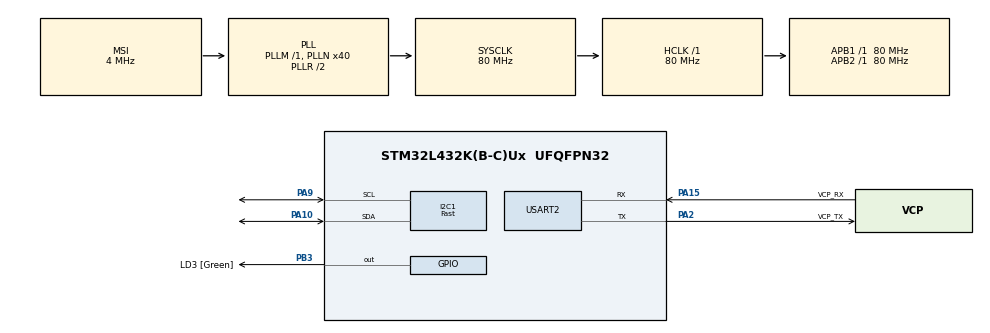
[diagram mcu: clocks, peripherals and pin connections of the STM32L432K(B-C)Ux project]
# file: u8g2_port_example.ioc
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I2C1.I2C_Speed_Mode=I2C_Fast
I2C1.Timing=0x00702991
Mcu.Family=STM32L4
Mcu.Name=STM32L432K(B-C)Ux
Mcu.Package=UFQFPN32
NVIC.PriorityGroup=NVIC_PRIORITYGROUP_4
PA0.GPIO_Label=MCO [High speed clock in]
PA0.Mode=HSE-External-Clock-Source-for-LittleOrca
PA0.Signal=RCC_CK_IN
PA10.Mode=I2C
PA10.Signal=I2C1_SDA
PA13\ (JTMS-SWDIO).GPIO_Label=SWDIO
PA13\ (JTMS-SWDIO).Mode=Serial_Wire
PA13\ (JTMS-SWDIO).Signal=SYS_JTMS-SWDIO
PA14\ (JTCK-SWCLK).GPIO_Label=SWCLK
PA14\ (JTCK-SWCLK).Mode=Serial_Wire
PA14\ (JTCK-SWCLK).Signal=SYS_JTCK-SWCLK
PA15\ (JTDI).GPIO_Label=VCP_RX
PA15\ (JTDI).Mode=Asynchronous
PA15\ (JTDI).Signal=USART2_RX
PA2.GPIO_Label=VCP_TX
PA2.Mode=Asynchronous
PA2.Signal=USART2_TX
PA9.Mode=I2C
PA9.Signal=I2C1_SCL
PB3\ (JTDO-TRACESWO).GPIO_Label=LD3 [Green]
PB3\ (JTDO-TRACESWO).Signal=GPIO_Output
PC14-OSC32_IN\ (PC14).Mode=LSE-External-Oscillator
PC14-OSC32_IN\ (PC14).Signal=RCC_OSC32_IN
PC15-OSC32_OUT\ (PC15).Mode=LSE-External-Oscillator
PC15-OSC32_OUT\ (PC15).Signal=RCC_OSC32_OUT
ProjectManager.HeapSize=0x200
ProjectManager.StackSize=0x400
ProjectManager.TargetToolchain=Makefile
RCC.AHBFreq_Value=80000000
RCC.APB1Freq_Value=80000000
RCC.APB1TimFreq_Value=80000000
RCC.APB2Freq_Value=80000000
RCC.APB2TimFreq_Value=80000000
RCC.CortexFreq_Value=80000000
RCC.HCLKFreq_Value=80000000
RCC.HSE_VALUE=8000000
RCC.HSI16_VALUE=16000000
RCC.HSI48_VALUE=48000000
RCC.HSI_VALUE=16000000
RCC.MSI_VALUE=4000000
RCC.PLLMUL=RCC_PLLMUL_4
RCC.PLLN=40
RCC.SYSCLKFreq_VALUE=80000000
RCC.SYSCLKSource=RCC_SYSCLKSOURCE_PLLCLK
RCC.VCOOutputFreq_Value=160000000
USART2.VirtualMode-Asynchronous=VM_ASYNC
board=NUCLEO-L432KC

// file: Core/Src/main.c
/* USER CODE BEGIN Header */
/**
  ******************************************************************************
  * @file           : main.c
  * @brief          : Main program body
  ******************************************************************************
  * @attention
  *
  * Copyright (c) 2023 STMicroelectronics.
  * All rights reserved.
  *
  * This software is licensed under terms that can be found in the LICENSE file
  * in the root directory of this software component.
  * If no LICENSE file comes with this software, it is provided AS-IS.
  *
  ******************************************************************************
  */
/* USER CODE END Header */
#include "main.h"

/* USER CODE BEGIN Includes */
#include "u8g2.h"
#include "u8g2_stm32_port.h"
/* USER CODE END Includes */

I2C_HandleTypeDef hi2c1;

UART_HandleTypeDef huart2;

void SystemClock_Config(void);
static void MX_GPIO_Init(void);
static void MX_I2C1_Init(void);
static void MX_USART2_UART_Init(void);

int main(void)
{

  /* MCU Configuration--------------------------------------------------------*/

  /* Reset of all peripherals, Initializes the Flash interface and the Systick. */
  HAL_Init();

  /* Configure the system clock */
  SystemClock_Config();

  /* Initialize all configured peripherals */
  MX_GPIO_Init();
  MX_I2C1_Init();
  MX_USART2_UART_Init();
  /* USER CODE BEGIN 2 */
  // Initialize u8g2_stm_port_module
  stm32_u8g2_port_module_init(&hi2c1);

  // Initialize display.
  u8g2_t u8g2;
  u8g2_Setup_ssd1306_i2c_128x64_noname_f(&u8g2, U8G2_R0, stm32_u8x8_port_i2c_byte_send_cblk_impl, stm32_u8g2_port_delay_cblk_impl);
  u8g2_InitDisplay(&u8g2); // send init sequence to the display, display is in sleep mode after this,
  u8g2_SetPowerSave(&u8g2, 0); // wake up display
  u8g2_ClearDisplay(&u8g2);

  u8g2_FirstPage(&u8g2);
  u8g2_SetFont(&u8g2, u8g2_font_bauhaus2015_tr);
  u8g2_DrawStr(&u8g2, 10, 13, "u8g2");
  u8g2_SetFont(&u8g2, u8g2_font_bubble_tr);
  u8g2_DrawStr(&u8g2, 73, 25, "on");
  u8g2_SetFont(&u8g2, u8g2_font_tenstamps_mf);
  u8g2_DrawStr(&u8g2, 0, 43, "STM32");
  u8g2_DrawStr(&u8g2, 75, 60, "HAL");
  u8g2_NextPage(&u8g2);
  /* USER CODE END 2 */

  /* Infinite loop */
  while (1)
  {

  }
}

void SystemClock_Config(void)
{
  RCC_OscInitTypeDef RCC_OscInitStruct = {0};
  RCC_ClkInitTypeDef RCC_ClkInitStruct = {0};

  /** Configure the main internal regulator output voltage
  */
  if (HAL_PWREx_ControlVoltageScaling(PWR_REGULATOR_VOLTAGE_SCALE1) != HAL_OK)
  {
    Error_Handler();
  }

  /** Configure LSE Drive Capability
  */
  HAL_PWR_EnableBkUpAccess();
  __HAL_RCC_LSEDRIVE_CONFIG(RCC_LSEDRIVE_LOW);

  /** Initializes the RCC Oscillators according to the specified parameters
  * in the RCC_OscInitTypeDef structure.
  */
  RCC_OscInitStruct.OscillatorType = RCC_OSCILLATORTYPE_LSE|RCC_OSCILLATORTYPE_MSI;
  RCC_OscInitStruct.LSEState = RCC_LSE_ON;
  RCC_OscInitStruct.MSIState = RCC_MSI_ON;
  RCC_OscInitStruct.MSICalibrationValue = 0;
  RCC_OscInitStruct.MSIClockRange = RCC_MSIRANGE_6;
  RCC_OscInitStruct.PLL.PLLState = RCC_PLL_ON;
  RCC_OscInitStruct.PLL.PLLSource = RCC_PLLSOURCE_MSI;
  RCC_OscInitStruct.PLL.PLLM = 1;
  RCC_OscInitStruct.PLL.PLLN = 40;
  RCC_OscInitStruct.PLL.PLLP = RCC_PLLP_DIV7;
  RCC_OscInitStruct.PLL.PLLQ = RCC_PLLQ_DIV2;
  RCC_OscInitStruct.PLL.PLLR = RCC_PLLR_DIV2;
  if (HAL_RCC_OscConfig(&RCC_OscInitStruct) != HAL_OK)
  {
    Error_Handler();
  }

  /** Initializes the CPU, AHB and APB buses clocks
  */
  RCC_ClkInitStruct.ClockType = RCC_CLOCKTYPE_HCLK|RCC_CLOCKTYPE_SYSCLK
                              |RCC_CLOCKTYPE_PCLK1|RCC_CLOCKTYPE_PCLK2;
  RCC_ClkInitStruct.SYSCLKSource = RCC_SYSCLKSOURCE_PLLCLK;
  RCC_ClkInitStruct.AHBCLKDivider = RCC_SYSCLK_DIV1;
  RCC_ClkInitStruct.APB1CLKDivider = RCC_HCLK_DIV1;
  RCC_ClkInitStruct.APB2CLKDivider = RCC_HCLK_DIV1;

  if (HAL_RCC_ClockConfig(&RCC_ClkInitStruct, FLASH_LATENCY_4) != HAL_OK)
  {
    Error_Handler();
  }

  /** Enable MSI Auto calibration
  */
  HAL_RCCEx_EnableMSIPLLMode();
}

static void MX_I2C1_Init(void)
{

  hi2c1.Instance = I2C1;
  hi2c1.Init.Timing = 0x00702991;
  hi2c1.Init.OwnAddress1 = 0;
  hi2c1.Init.AddressingMode = I2C_ADDRESSINGMODE_7BIT;
  hi2c1.Init.DualAddressMode = I2C_DUALADDRESS_DISABLE;
  hi2c1.Init.OwnAddress2 = 0;
  hi2c1.Init.OwnAddress2Masks = I2C_OA2_NOMASK;
  hi2c1.Init.GeneralCallMode = I2C_GENERALCALL_DISABLE;
  hi2c1.Init.NoStretchMode = I2C_NOSTRETCH_DISABLE;
  if (HAL_I2C_Init(&hi2c1) != HAL_OK)
  {
    Error_Handler();
  }

  /** Configure Analogue filter
  */
  if (HAL_I2CEx_ConfigAnalogFilter(&hi2c1, I2C_ANALOGFILTER_ENABLE) != HAL_OK)
  {
    Error_Handler();
  }

  /** Configure Digital filter
  */
  if (HAL_I2CEx_ConfigDigitalFilter(&hi2c1, 0) != HAL_OK)
  {
    Error_Handler();
  }

}

static void MX_USART2_UART_Init(void)
{

  huart2.Instance = USART2;
  huart2.Init.BaudRate = 115200;
  huart2.Init.WordLength = UART_WORDLENGTH_8B;
  huart2.Init.StopBits = UART_STOPBITS_1;
  huart2.Init.Parity = UART_PARITY_NONE;
  huart2.Init.Mode = UART_MODE_TX_RX;
  huart2.Init.HwFlowCtl = UART_HWCONTROL_NONE;
  huart2.Init.OverSampling = UART_OVERSAMPLING_16;
  huart2.Init.OneBitSampling = UART_ONE_BIT_SAMPLE_DISABLE;
  huart2.AdvancedInit.AdvFeatureInit = UART_ADVFEATURE_NO_INIT;
  if (HAL_UART_Init(&huart2) != HAL_OK)
  {
    Error_Handler();
  }

}

static void MX_GPIO_Init(void)
{
  GPIO_InitTypeDef GPIO_InitStruct = {0};

  /* GPIO Ports Clock Enable */
  __HAL_RCC_GPIOC_CLK_ENABLE();
  __HAL_RCC_GPIOA_CLK_ENABLE();
  __HAL_RCC_GPIOB_CLK_ENABLE();

  /*Configure GPIO pin Output Level */
  HAL_GPIO_WritePin(LD3_GPIO_Port, LD3_Pin, GPIO_PIN_RESET);

  /*Configure GPIO pin : LD3_Pin */
  GPIO_InitStruct.Pin = LD3_Pin;
  GPIO_InitStruct.Mode = GPIO_MODE_OUTPUT_PP;
  GPIO_InitStruct.Pull = GPIO_NOPULL;
  GPIO_InitStruct.Speed = GPIO_SPEED_FREQ_LOW;
  HAL_GPIO_Init(LD3_GPIO_Port, &GPIO_InitStruct);

}

void Error_Handler(void)
{
  __disable_irq();
  while (1)
  {
  }
}
